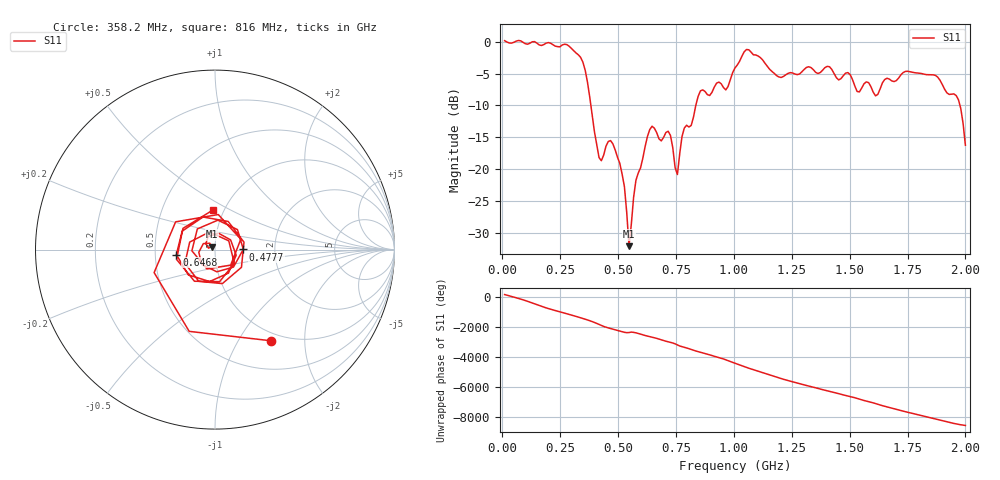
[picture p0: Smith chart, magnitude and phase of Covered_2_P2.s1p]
!Created with skrf (http://scikit-rf.org).
# Hz S RI R 50.0
!freq ReS11 ImS11
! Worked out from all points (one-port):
!   201 points, 10 MHz to 2 GHz, reference 50 ohm
!   lowest |S11| = -32.1 dB at 547.3 MHz (marker M1), VSWR 1.05, Z = 48.2 + j1.64 ohm
!   |S11| at or under -10 dB: 382.7 MHz to 835.6 MHz (453 MHz wide, 74.4 % of centre); 1.977 GHz to end of sweep
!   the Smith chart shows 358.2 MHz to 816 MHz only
!   S11 on the Smith chart (normalised r, x): 358.2 MHz: 0.88, -1.38; 477.6 MHz: 1.37, +0.00; 646.8 MHz: 0.64, -0.04; 816 MHz: 0.89, +0.41
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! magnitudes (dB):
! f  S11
! 10 MHz  0.2
! 258.8 MHz  -0.5
! 358.2 MHz  -4.5
! 417.9 MHz  -18.2
! 477.6 MHz  -16.0
! 507.5 MHz  -19.1
! 527.4 MHz  -22.7
! 547.3 MHz  -32.1
! 577.1 MHz  -21.7
! 646.8 MHz  -13.3
! 726.4 MHz  -14.7
! 756.2 MHz  -20.8
! 786.1 MHz  -13.5
! 816 MHz  -13.1
! 855.8 MHz  -7.7
! 965.2 MHz  -7.6
! 1.005 GHz  -4.1
! 1.055 GHz  -1.2
! 1.194 GHz  -5.5
! 1.254 GHz  -4.9
! 1.502 GHz  -5.2
! 1.532 GHz  -7.8
! 1.572 GHz  -6.3
! 1.612 GHz  -8.5
! 1.751 GHz  -4.6
! 1.96 GHz  -8.4
! 1.98 GHz  -10.5
! 2 GHz  -16.2
